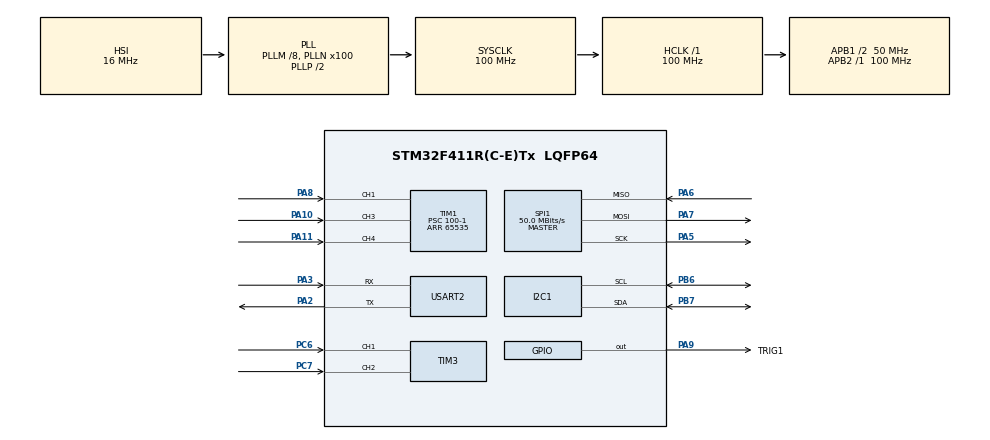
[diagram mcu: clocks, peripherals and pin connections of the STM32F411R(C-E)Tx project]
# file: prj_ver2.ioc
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Mcu.Family=STM32F4
Mcu.Name=STM32F411R(C-E)Tx
Mcu.Package=LQFP64
NVIC.PriorityGroup=NVIC_PRIORITYGROUP_4
NVIC.TIM1_CC_IRQn=true\:0\:0\:false\:false\:true\:true\:true\:true
PA10.Signal=S_TIM1_CH3
PA11.Signal=S_TIM1_CH4
PA2.Mode=Asynchronous
PA2.Signal=USART2_TX
PA3.Mode=Asynchronous
PA3.Signal=USART2_RX
PA5.Mode=Full_Duplex_Master
PA5.Signal=SPI1_SCK
PA6.Mode=Full_Duplex_Master
PA6.Signal=SPI1_MISO
PA7.Mode=Full_Duplex_Master
PA7.Signal=SPI1_MOSI
PA8.Signal=S_TIM1_CH1
PA9.GPIO_Label=TRIG1
PA9.Signal=GPIO_Output
PB6.Mode=I2C
PB6.Signal=I2C1_SCL
PB7.Mode=I2C
PB7.Signal=I2C1_SDA
PC6.Signal=S_TIM3_CH1
PC7.Signal=S_TIM3_CH2
ProjectManager.HeapSize=0x200
ProjectManager.StackSize=0x400
ProjectManager.TargetToolchain=STM32CubeIDE
RCC.48MHZClocksFreq_Value=50000000
RCC.AHBFreq_Value=100000000
RCC.APB1CLKDivider=RCC_HCLK_DIV2
RCC.APB1Freq_Value=50000000
RCC.APB1TimFreq_Value=100000000
RCC.APB2Freq_Value=100000000
RCC.APB2TimFreq_Value=100000000
RCC.CortexFreq_Value=100000000
RCC.HCLKFreq_Value=100000000
RCC.HSE_VALUE=25000000
RCC.HSI_VALUE=16000000
RCC.LSE_VALUE=32768
RCC.PLLM=8
RCC.PLLN=100
RCC.SYSCLKFreq_VALUE=100000000
RCC.SYSCLKSource=RCC_SYSCLKSOURCE_PLLCLK
RCC.VCOOutputFreq_Value=200000000
SH.S_TIM1_CH1.0=TIM1_CH1,Input_Capture1_from_TI1
SH.S_TIM1_CH3.0=TIM1_CH3,Input_Capture3_from_TI3
SH.S_TIM1_CH4.0=TIM1_CH4,Input_Capture4_from_TI4
SH.S_TIM3_CH1.0=TIM3_CH1,Input_Capture1_from_TI1
SH.S_TIM3_CH2.0=TIM3_CH2,Input_Capture2_from_TI2
SPI1.CalculateBaudRate=50.0 MBits/s
SPI1.Direction=SPI_DIRECTION_2LINES
SPI1.Mode=SPI_MODE_MASTER
SPI1.VirtualType=VM_MASTER
TIM1.Channel-Input_Capture1_from_TI1=TIM_CHANNEL_1
TIM1.Channel-Input_Capture3_from_TI3=TIM_CHANNEL_3
TIM1.Channel-Input_Capture4_from_TI4=TIM_CHANNEL_4
TIM1.Period=65535
TIM1.Prescaler=100-1
TIM10.Period=65535
TIM10.Prescaler=100-1
TIM3.Channel-Input_Capture1_from_TI1=TIM_CHANNEL_1
TIM3.Channel-Input_Capture2_from_TI2=TIM_CHANNEL_2
USART2.VirtualMode=VM_ASYNC
VP_TIM10_VS_ClockSourceINT.Mode=Enable_Timer
VP_TIM1_VS_ClockSourceINT.Mode=Internal
VP_TIM3_VS_ClockSourceINT.Mode=Internal
board=custom

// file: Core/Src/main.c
/* USER CODE BEGIN Header */
/**
  ******************************************************************************
  * @file           : main.c
  * @brief          : Main program body
  ******************************************************************************
  * @attention
  *
  * Copyright (c) 2024 STMicroelectronics.
  * All rights reserved.
  *
  * This software is licensed under terms that can be found in the LICENSE file
  * in the root directory of this software component.
  * If no LICENSE file comes with this software, it is provided AS-IS.
  *
  ******************************************************************************
  */
/* USER CODE END Header */
#include "main.h"

/* USER CODE BEGIN Includes */
#include "uart.h"
/* USER CODE END Includes */

I2C_HandleTypeDef hi2c1;

SPI_HandleTypeDef hspi1;

TIM_HandleTypeDef htim1;
TIM_HandleTypeDef htim3;
TIM_HandleTypeDef htim10;

UART_HandleTypeDef huart2;

void SystemClock_Config(void);
static void MX_GPIO_Init(void);
static void MX_TIM1_Init(void);
static void MX_I2C1_Init(void);
static void MX_USART2_UART_Init(void);
static void MX_SPI1_Init(void);
static void MX_TIM3_Init(void);
static void MX_TIM10_Init(void);

/* USER CODE BEGIN 0 */
void delayUs(uint16_t time){
	htim10.Instance->CNT = 0;
	while(htim10.Instance->CNT < time);
}

uint32_t IC_Val11 = 0;
uint32_t IC_Val12 = 0;
uint32_t IC_Val21 = 0;
uint32_t IC_Val22 = 0;
uint32_t IC_Val31 = 0;
uint32_t IC_Val32 = 0;
uint32_t Difference1 = 0;
uint32_t Difference2 = 0;
uint32_t Difference3 = 0;
uint8_t IsFirstCaptured1 = 0;
uint8_t IsFirstCaptured2 = 0;
uint8_t IsFirstCaptured3 = 0;
uint32_t Distance1=0;
uint32_t Distance2=0;
uint32_t Distance3=0;
uint8_t FlagState = 0;

typedef struct value{
	uint32_t Svalue1;
	uint32_t Svalue2;
	uint32_t Svalue3;
}Svalue_t;

void HAL_TIM_IC_CaptureCallback(TIM_HandleTypeDef *htim){
	if(htim->Channel == HAL_TIM_ACTIVE_CHANNEL_1 ){
		if(IsFirstCaptured1 == 0 && (FlagState==0)){
			IC_Val11 = HAL_TIM_ReadCapturedValue(htim, TIM_CHANNEL_1);
			IsFirstCaptured1 = 1;
			__HAL_TIM_SET_CAPTUREPOLARITY(htim, TIM_CHANNEL_1, TIM_INPUTCHANNELPOLARITY_FALLING);
		}
		else if(IsFirstCaptured1 == 1){
			IC_Val12 = HAL_TIM_ReadCapturedValue(htim, TIM_CHANNEL_1);
			htim->Instance->CNT = 0;
			if(IC_Val12 > IC_Val11) Difference1 = IC_Val12 - IC_Val11;
			else if(IC_Val11> IC_Val12) Difference1 = (0xffff - IC_Val11) + IC_Val12;
			Distance1 = Difference1 * 0.034 / 2;
			IsFirstCaptured1 = 0;
			FlagState++;
			__HAL_TIM_SET_CAPTUREPOLARITY(htim, TIM_CHANNEL_1, TIM_INPUTCHANNELPOLARITY_RISING);
			__HAL_TIM_DISABLE_IT(htim, TIM_IT_CC1);
		}
	}
	if (htim->Channel == HAL_TIM_ACTIVE_CHANNEL_3) {
		if (IsFirstCaptured2 == 0 && (FlagState==1)) {
			IC_Val21 = HAL_TIM_ReadCapturedValue(htim, TIM_CHANNEL_3);
			IsFirstCaptured2 = 1;
			__HAL_TIM_SET_CAPTUREPOLARITY(htim, TIM_CHANNEL_3,TIM_INPUTCHANNELPOLARITY_FALLING);
		} else if (IsFirstCaptured2 == 1) {
			IC_Val22 = HAL_TIM_ReadCapturedValue(htim, TIM_CHANNEL_3);
			htim->Instance->CNT = 0;
			if (IC_Val22 > IC_Val21)
				Difference2 = IC_Val22 - IC_Val21;
			else if (IC_Val21 > IC_Val22)
				Difference2 = (0xffff - IC_Val21) + IC_Val22;
			Distance2 = Difference2 * 0.034 / 2;
			IsFirstCaptured2 = 0;
			FlagState++;

			__HAL_TIM_SET_CAPTUREPOLARITY(htim, TIM_CHANNEL_3, TIM_INPUTCHANNELPOLARITY_RISING);
			__HAL_TIM_DISABLE_IT(htim, TIM_IT_CC3);
		}
	}
	if (htim->Channel == HAL_TIM_ACTIVE_CHANNEL_4) {
		if (IsFirstCaptured3 == 0 && (FlagState==2)) {
			IC_Val31 = HAL_TIM_ReadCapturedValue(htim, TIM_CHANNEL_4);
			IsFirstCaptured3 = 1;
			__HAL_TIM_SET_CAPTUREPOLARITY(htim, TIM_CHANNEL_4,
					TIM_INPUTCHANNELPOLARITY_FALLING);
		} else if (IsFirstCaptured3 == 1) {
			IC_Val32 = HAL_TIM_ReadCapturedValue(htim, TIM_CHANNEL_4);
			htim->Instance->CNT = 0;
			if (IC_Val32 > IC_Val31)
				Difference3 = IC_Val32 - IC_Val31;
			else if (IC_Val31 > IC_Val32)
				Difference3 = (0xffff - IC_Val31) + IC_Val32;
			Distance3 = Difference3 * 0.034 / 2;
			IsFirstCaptured3 = 0;
			FlagState = 0;

			__HAL_TIM_SET_CAPTUREPOLARITY(htim, TIM_CHANNEL_4,
					TIM_INPUTCHANNELPOLARITY_RISING);
			__HAL_TIM_DISABLE_IT(htim, TIM_IT_CC4);
		}
	}
}

uint32_t getDistance1(){
	HAL_GPIO_WritePin(TRIG1_GPIO_Port, TRIG1_Pin, 1);
	delayUs(10);
	HAL_GPIO_WritePin(TRIG1_GPIO_Port, TRIG1_Pin, 0);

	__HAL_TIM_ENABLE_IT(&htim1, TIM_IT_CC1);
	return Distance1;
}
uint32_t getDistance2(){
	HAL_GPIO_WritePin(TRIG1_GPIO_Port, TRIG1_Pin, 1);
	delayUs(10);
	HAL_GPIO_WritePin(TRIG1_GPIO_Port, TRIG1_Pin, 0);

	__HAL_TIM_ENABLE_IT(&htim1, TIM_IT_CC3);
	return Distance2;
}
uint32_t getDistance3(){
	HAL_GPIO_WritePin(TRIG1_GPIO_Port, TRIG1_Pin, 1);
	delayUs(10);
	HAL_GPIO_WritePin(TRIG1_GPIO_Port, TRIG1_Pin, 0);

	__HAL_TIM_ENABLE_IT(&htim1, TIM_IT_CC4);
	return Distance3;
}
/*
Svalue_t getDistance(){
	Svalue_t value;
	value.Svalue1 = getDistance1();
	HAL_Delay(10);
	value.Svalue2 = getDistance2();
	HAL_Delay(10);
	value.Svalue3 = getDistance3();
	HAL_Delay(10);
	return value;
}*/
/* USER CODE END 0 */

int main(void)
{

  /* MCU Configuration--------------------------------------------------------*/

  /* Reset of all peripherals, Initializes the Flash interface and the Systick. */
  HAL_Init();

  /* Configure the system clock */
  SystemClock_Config();

  /* Initialize all configured peripherals */
  MX_GPIO_Init();
  MX_TIM1_Init();
  MX_I2C1_Init();
  MX_USART2_UART_Init();
  MX_SPI1_Init();
  MX_TIM3_Init();
  MX_TIM10_Init();
  /* USER CODE BEGIN 2 */
	initUART(&huart2);
	HAL_TIM_Base_Start(&htim10);
	HAL_TIM_IC_Start_IT(&htim1, TIM_CHANNEL_1);
	HAL_TIM_IC_Start_IT(&htim1, TIM_CHANNEL_3);
	HAL_TIM_IC_Start_IT(&htim1, TIM_CHANNEL_4);
  /* USER CODE END 2 */

  /* Infinite loop */
  /* USER CODE BEGIN WHILE */
  while (1)
  {
	  //Svalue_t value;
	  //value = getDistance();
	  uint32_t value1, value2, value3 = 0;
	  value1 = getDistance1();
	  value2 = getDistance2();
	  value3 = getDistance3();
	  printf("%d  %d  %d\n", value1, value2, value3);
	  HAL_Delay(20);
    /* USER CODE END WHILE */

  }
}

void SystemClock_Config(void)
{
  RCC_OscInitTypeDef RCC_OscInitStruct = {0};
  RCC_ClkInitTypeDef RCC_ClkInitStruct = {0};

  /** Configure the main internal regulator output voltage
  */
  __HAL_RCC_PWR_CLK_ENABLE();
  __HAL_PWR_VOLTAGESCALING_CONFIG(PWR_REGULATOR_VOLTAGE_SCALE1);

  /** Initializes the RCC Oscillators according to the specified parameters
  * in the RCC_OscInitTypeDef structure.
  */
  RCC_OscInitStruct.OscillatorType = RCC_OSCILLATORTYPE_HSI;
  RCC_OscInitStruct.HSIState = RCC_HSI_ON;
  RCC_OscInitStruct.HSICalibrationValue = RCC_HSICALIBRATION_DEFAULT;
  RCC_OscInitStruct.PLL.PLLState = RCC_PLL_ON;
  RCC_OscInitStruct.PLL.PLLSource = RCC_PLLSOURCE_HSI;
  RCC_OscInitStruct.PLL.PLLM = 8;
  RCC_OscInitStruct.PLL.PLLN = 100;
  RCC_OscInitStruct.PLL.PLLP = RCC_PLLP_DIV2;
  RCC_OscInitStruct.PLL.PLLQ = 4;
  if (HAL_RCC_OscConfig(&RCC_OscInitStruct) != HAL_OK)
  {
    Error_Handler();
  }

  /** Initializes the CPU, AHB and APB buses clocks
  */
  RCC_ClkInitStruct.ClockType = RCC_CLOCKTYPE_HCLK|RCC_CLOCKTYPE_SYSCLK
                              |RCC_CLOCKTYPE_PCLK1|RCC_CLOCKTYPE_PCLK2;
  RCC_ClkInitStruct.SYSCLKSource = RCC_SYSCLKSOURCE_PLLCLK;
  RCC_ClkInitStruct.AHBCLKDivider = RCC_SYSCLK_DIV1;
  RCC_ClkInitStruct.APB1CLKDivider = RCC_HCLK_DIV2;
  RCC_ClkInitStruct.APB2CLKDivider = RCC_HCLK_DIV1;

  if (HAL_RCC_ClockConfig(&RCC_ClkInitStruct, FLASH_LATENCY_3) != HAL_OK)
  {
    Error_Handler();
  }
}

static void MX_I2C1_Init(void)
{

  hi2c1.Instance = I2C1;
  hi2c1.Init.ClockSpeed = 100000;
  hi2c1.Init.DutyCycle = I2C_DUTYCYCLE_2;
  hi2c1.Init.OwnAddress1 = 0;
  hi2c1.Init.AddressingMode = I2C_ADDRESSINGMODE_7BIT;
  hi2c1.Init.DualAddressMode = I2C_DUALADDRESS_DISABLE;
  hi2c1.Init.OwnAddress2 = 0;
  hi2c1.Init.GeneralCallMode = I2C_GENERALCALL_DISABLE;
  hi2c1.Init.NoStretchMode = I2C_NOSTRETCH_DISABLE;
  if (HAL_I2C_Init(&hi2c1) != HAL_OK)
  {
    Error_Handler();
  }

}

static void MX_SPI1_Init(void)
{

  /* SPI1 parameter configuration*/
  hspi1.Instance = SPI1;
  hspi1.Init.Mode = SPI_MODE_MASTER;
  hspi1.Init.Direction = SPI_DIRECTION_2LINES;
  hspi1.Init.DataSize = SPI_DATASIZE_8BIT;
  hspi1.Init.CLKPolarity = SPI_POLARITY_LOW;
  hspi1.Init.CLKPhase = SPI_PHASE_1EDGE;
  hspi1.Init.NSS = SPI_NSS_SOFT;
  hspi1.Init.BaudRatePrescaler = SPI_BAUDRATEPRESCALER_2;
  hspi1.Init.FirstBit = SPI_FIRSTBIT_MSB;
  hspi1.Init.TIMode = SPI_TIMODE_DISABLE;
  hspi1.Init.CRCCalculation = SPI_CRCCALCULATION_DISABLE;
  hspi1.Init.CRCPolynomial = 10;
  if (HAL_SPI_Init(&hspi1) != HAL_OK)
  {
    Error_Handler();
  }

}

static void MX_TIM1_Init(void)
{

  TIM_ClockConfigTypeDef sClockSourceConfig = {0};
  TIM_MasterConfigTypeDef sMasterConfig = {0};
  TIM_IC_InitTypeDef sConfigIC = {0};

  htim1.Instance = TIM1;
  htim1.Init.Prescaler = 100-1;
  htim1.Init.CounterMode = TIM_COUNTERMODE_UP;
  htim1.Init.Period = 65535;
  htim1.Init.ClockDivision = TIM_CLOCKDIVISION_DIV1;
  htim1.Init.RepetitionCounter = 0;
  htim1.Init.AutoReloadPreload = TIM_AUTORELOAD_PRELOAD_DISABLE;
  if (HAL_TIM_Base_Init(&htim1) != HAL_OK)
  {
    Error_Handler();
  }
  sClockSourceConfig.ClockSource = TIM_CLOCKSOURCE_INTERNAL;
  if (HAL_TIM_ConfigClockSource(&htim1, &sClockSourceConfig) != HAL_OK)
  {
    Error_Handler();
  }
  if (HAL_TIM_IC_Init(&htim1) != HAL_OK)
  {
    Error_Handler();
  }
  sMasterConfig.MasterOutputTrigger = TIM_TRGO_RESET;
  sMasterConfig.MasterSlaveMode = TIM_MASTERSLAVEMODE_DISABLE;
  if (HAL_TIMEx_MasterConfigSynchronization(&htim1, &sMasterConfig) != HAL_OK)
  {
    Error_Handler();
  }
  sConfigIC.ICPolarity = TIM_INPUTCHANNELPOLARITY_RISING;
  sConfigIC.ICSelection = TIM_ICSELECTION_DIRECTTI;
  sConfigIC.ICPrescaler = TIM_ICPSC_DIV1;
  sConfigIC.ICFilter = 0;
  if (HAL_TIM_IC_ConfigChannel(&htim1, &sConfigIC, TIM_CHANNEL_1) != HAL_OK)
  {
    Error_Handler();
  }
  if (HAL_TIM_IC_ConfigChannel(&htim1, &sConfigIC, TIM_CHANNEL_3) != HAL_OK)
  {
    Error_Handler();
  }
  if (HAL_TIM_IC_ConfigChannel(&htim1, &sConfigIC, TIM_CHANNEL_4) != HAL_OK)
  {
    Error_Handler();
  }

}

static void MX_TIM3_Init(void)
{

  TIM_ClockConfigTypeDef sClockSourceConfig = {0};
  TIM_MasterConfigTypeDef sMasterConfig = {0};
  TIM_IC_InitTypeDef sConfigIC = {0};

  htim3.Instance = TIM3;
  htim3.Init.Prescaler = 0;
  htim3.Init.CounterMode = TIM_COUNTERMODE_UP;
  htim3.Init.Period = 65535;
  htim3.Init.ClockDivision = TIM_CLOCKDIVISION_DIV1;
  htim3.Init.AutoReloadPreload = TIM_AUTORELOAD_PRELOAD_DISABLE;
  if (HAL_TIM_Base_Init(&htim3) != HAL_OK)
  {
    Error_Handler();
  }
  sClockSourceConfig.ClockSource = TIM_CLOCKSOURCE_INTERNAL;
  if (HAL_TIM_ConfigClockSource(&htim3, &sClockSourceConfig) != HAL_OK)
  {
    Error_Handler();
  }
  if (HAL_TIM_IC_Init(&htim3) != HAL_OK)
  {
    Error_Handler();
  }
  sMasterConfig.MasterOutputTrigger = TIM_TRGO_RESET;
  sMasterConfig.MasterSlaveMode = TIM_MASTERSLAVEMODE_DISABLE;
  if (HAL_TIMEx_MasterConfigSynchronization(&htim3, &sMasterConfig) != HAL_OK)
  {
    Error_Handler();
  }
  sConfigIC.ICPolarity = TIM_INPUTCHANNELPOLARITY_RISING;
  sConfigIC.ICSelection = TIM_ICSELECTION_DIRECTTI;
  sConfigIC.ICPrescaler = TIM_ICPSC_DIV1;
  sConfigIC.ICFilter = 0;
  if (HAL_TIM_IC_ConfigChannel(&htim3, &sConfigIC, TIM_CHANNEL_1) != HAL_OK)
  {
    Error_Handler();
  }
  if (HAL_TIM_IC_ConfigChannel(&htim3, &sConfigIC, TIM_CHANNEL_2) != HAL_OK)
  {
    Error_Handler();
  }

}

static void MX_TIM10_Init(void)
{

  htim10.Instance = TIM10;
  htim10.Init.Prescaler = 100-1;
  htim10.Init.CounterMode = TIM_COUNTERMODE_UP;
  htim10.Init.Period = 65535;
  htim10.Init.ClockDivision = TIM_CLOCKDIVISION_DIV1;
  htim10.Init.AutoReloadPreload = TIM_AUTORELOAD_PRELOAD_DISABLE;
  if (HAL_TIM_Base_Init(&htim10) != HAL_OK)
  {
    Error_Handler();
  }

}

static void MX_USART2_UART_Init(void)
{

  huart2.Instance = USART2;
  huart2.Init.BaudRate = 115200;
  huart2.Init.WordLength = UART_WORDLENGTH_8B;
  huart2.Init.StopBits = UART_STOPBITS_1;
  huart2.Init.Parity = UART_PARITY_NONE;
  huart2.Init.Mode = UART_MODE_TX_RX;
  huart2.Init.HwFlowCtl = UART_HWCONTROL_NONE;
  huart2.Init.OverSampling = UART_OVERSAMPLING_16;
  if (HAL_UART_Init(&huart2) != HAL_OK)
  {
    Error_Handler();
  }

}

static void MX_GPIO_Init(void)
{
  GPIO_InitTypeDef GPIO_InitStruct = {0};

  /* GPIO Ports Clock Enable */
  __HAL_RCC_GPIOA_CLK_ENABLE();
  __HAL_RCC_GPIOC_CLK_ENABLE();
  __HAL_RCC_GPIOB_CLK_ENABLE();

  /*Configure GPIO pin Output Level */
  HAL_GPIO_WritePin(TRIG1_GPIO_Port, TRIG1_Pin, GPIO_PIN_RESET);

  /*Configure GPIO pin : TRIG1_Pin */
  GPIO_InitStruct.Pin = TRIG1_Pin;
  GPIO_InitStruct.Mode = GPIO_MODE_OUTPUT_PP;
  GPIO_InitStruct.Pull = GPIO_NOPULL;
  GPIO_InitStruct.Speed = GPIO_SPEED_FREQ_LOW;
  HAL_GPIO_Init(TRIG1_GPIO_Port, &GPIO_InitStruct);

}

void Error_Handler(void)
{
  __disable_irq();
  while (1)
  {
  }
}
